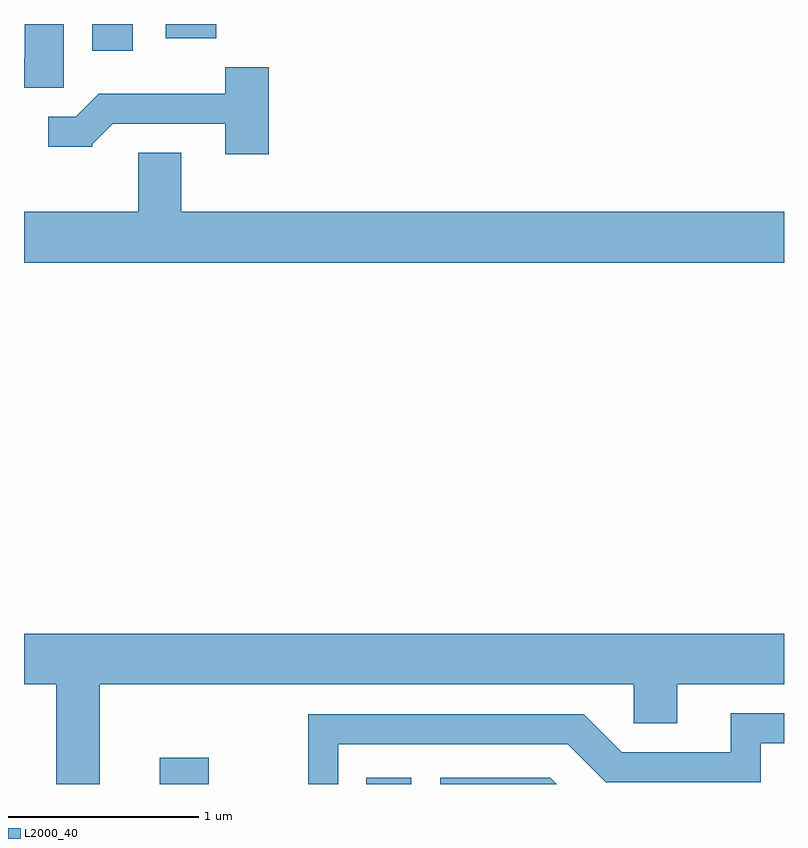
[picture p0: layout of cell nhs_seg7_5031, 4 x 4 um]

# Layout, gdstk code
import gdstk
lib = gdstk.Library(unit=1e-6, precision=1e-09)
def R(c, l, rs):  # rectangles x0, y0, x1, y1
    for r in rs: c.add(gdstk.rectangle(r[:2], r[2:], *l))
def P(c, l, *ps):  # polygons
    for p in ps: c.add(gdstk.Polygon(p, *l))
L2000_40 = (2000, 40)

nhs_seg7_5031 = lib.new_cell('nhs_seg7_5031')
R(nhs_seg7_5031, L2000_40, [(340.326,1698.252,340.584,1698.389), (341.413,1698.252,341.649,1698.284), (339.971,1702.111,340.184,1702.252), (340.356,1702.176,340.624,1702.252)])
P(nhs_seg7_5031, L2000_40, [(339.819,1702.252),(339.616,1702.252),(339.616,1702.074),(339.611,1702.074),(339.611,1701.916),(339.819,1701.916)],
  [(340.899,1702.024),(340.671,1702.024),(340.671,1701.884),(340.004,1701.884),(339.884,1701.764),(339.738,1701.764),(339.738,1701.606),(339.97,1701.606),(339.97,1701.62),(340.077,1701.726),(340.671,1701.726),(340.671,1701.566),(340.899,1701.566)],
  [(343.611,1701.264),(340.439,1701.264),(340.439,1701.574),(340.211,1701.574),(340.211,1701.264),(339.611,1701.264),(339.611,1700.996),(343.611,1700.996)],
  [(340.009,1698.776),(342.821,1698.776),(342.821,1698.571),(343.049,1698.571),(343.049,1698.776),(343.611,1698.776),(343.611,1699.044),(339.611,1699.044),(339.611,1698.776),(339.781,1698.776),(339.781,1698.252),(340.009,1698.252)],
  [(341.264,1698.461),(342.474,1698.461),(342.674,1698.261),(343.489,1698.261),(343.489,1698.466),(343.611,1698.466),(343.611,1698.624),(343.331,1698.624),(343.331,1698.419),(342.757,1698.419),(342.557,1698.619),(341.106,1698.619),(341.106,1698.252),(341.264,1698.252)],
  [(342.382,1698.284),(341.801,1698.284),(341.801,1698.252),(342.414,1698.252)])

lib.write_gds('nhs_seg7_5031.gds')
